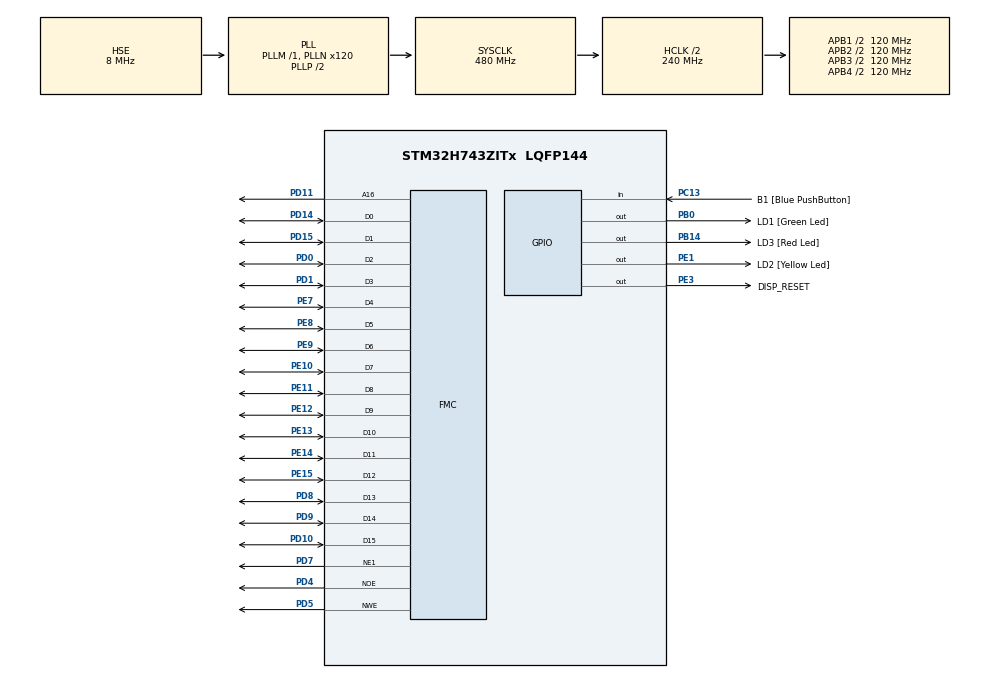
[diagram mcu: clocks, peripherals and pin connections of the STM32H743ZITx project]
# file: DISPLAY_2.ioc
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CORTEX_M7.AccessPermission-Cortex_Memory_Protection_Unit_Region0_Settings=MPU_REGION_FULL_ACCESS
CORTEX_M7.BaseAddress-Cortex_Memory_Protection_Unit_Region0_Settings=0x60000000
CORTEX_M7.DisableExec-Cortex_Memory_Protection_Unit_Region0_Settings=MPU_INSTRUCTION_ACCESS_DISABLE
CORTEX_M7.Enable-Cortex_Memory_Protection_Unit_Region0_Settings=MPU_REGION_ENABLE
CORTEX_M7.IsBufferable-Cortex_Memory_Protection_Unit_Region0_Settings=MPU_ACCESS_BUFFERABLE
CORTEX_M7.IsShareable-Cortex_Memory_Protection_Unit_Region0_Settings=MPU_ACCESS_SHAREABLE
CORTEX_M7.MPU_Control=MPU_HFNMI_PRIVDEF
CORTEX_M7.Size-Cortex_Memory_Protection_Unit_Region0_Settings=MPU_REGION_SIZE_64MB
CORTEX_M7.TypeExtField-Cortex_Memory_Protection_Unit_Region0_Settings=MPU_TEX_LEVEL0
FMC.BankMapConfig=FMC_SWAPBMAP_DISABLE
Mcu.Family=STM32H7
Mcu.Name=STM32H743ZITx
Mcu.Package=LQFP144
NVIC.PriorityGroup=NVIC_PRIORITYGROUP_4
PB0.GPIO_Label=LD1 [Green Led]
PB0.Signal=GPIO_Output
PB14.GPIO_Label=LD3 [Red Led]
PB14.Signal=GPIO_Output
PC13.GPIO_Label=B1 [Blue PushButton]
PC13.Signal=GPIO_Input
PC14-OSC32_IN\ (OSC32_IN).Mode=LSE-External-Oscillator
PC14-OSC32_IN\ (OSC32_IN).Signal=RCC_OSC32_IN
PC15-OSC32_OUT\ (OSC32_OUT).Mode=LSE-External-Oscillator
PC15-OSC32_OUT\ (OSC32_OUT).Signal=RCC_OSC32_OUT
PD0.Signal=FMC_D2_DA2
PD1.Signal=FMC_D3_DA3
PD10.Signal=FMC_D15_DA15
PD11.Signal=FMC_A16_CLE
PD14.Signal=FMC_D0_DA0
PD15.Signal=FMC_D1_DA1
PD4.Signal=FMC_NOE
PD5.Signal=FMC_NWE
PD7.Mode=NorPsramChipSelect1_1
PD7.Signal=FMC_NE1
PD8.Signal=FMC_D13_DA13
PD9.Signal=FMC_D14_DA14
PE1.GPIO_Label=LD2 [Yellow Led]
PE1.Signal=GPIO_Output
PE10.Signal=FMC_D7_DA7
PE11.Signal=FMC_D8_DA8
PE12.Signal=FMC_D9_DA9
PE13.Signal=FMC_D10_DA10
PE14.Signal=FMC_D11_DA11
PE15.Signal=FMC_D12_DA12
PE3.GPIO_Label=DISP_RESET
PE3.Signal=GPIO_Output
PE7.Signal=FMC_D4_DA4
PE8.Signal=FMC_D5_DA5
PE9.Signal=FMC_D6_DA6
PH0-OSC_IN\ (PH0).Mode=HSE-External-Clock-Source
PH0-OSC_IN\ (PH0).Signal=RCC_OSC_IN
PH1-OSC_OUT\ (PH1).Signal=RCC_OSC_OUT
ProjectManager.HeapSize=0x200
ProjectManager.StackSize=0x400
ProjectManager.TargetToolchain=Makefile
RCC.ADCFreq_Value=16125000
RCC.APB1Freq_Value=120000000
RCC.APB2Freq_Value=120000000
RCC.APB3Freq_Value=120000000
RCC.APB4Freq_Value=120000000
RCC.CortexFreq_Value=480000000
RCC.D1PPRE=RCC_APB3_DIV2
RCC.D2PPRE1=RCC_APB1_DIV2
RCC.D2PPRE2=RCC_APB2_DIV2
RCC.D3PPRE=RCC_APB4_DIV2
RCC.DIVM1=1
RCC.DIVN1=120
RCC.DIVQ1=30
RCC.HCLKFreq_Value=240000000
RCC.HPRE=RCC_HCLK_DIV2
RCC.HSE_VALUE=8000000
RCC.PLL2FRACN=0
RCC.PLL3FRACN=0
RCC.PLLFRACN=0
RCC.PLLSourceVirtual=RCC_PLLSOURCE_HSE
RCC.PWR_Regulator_Voltage_Scale=PWR_REGULATOR_VOLTAGE_SCALE0
RCC.ProductRev=revV
RCC.SYSCLKFreq_VALUE=480000000
RCC.SYSCLKSource=RCC_SYSCLKSOURCE_PLLCLK
RCC.USBFreq_Value=32000000
SH.FMC_A16_CLE.0=FMC_A16,A16_1
SH.FMC_D0_DA0.0=FMC_D0,16b-d1
SH.FMC_D10_DA10.0=FMC_D10,16b-d1
SH.FMC_D11_DA11.0=FMC_D11,16b-d1
SH.FMC_D12_DA12.0=FMC_D12,16b-d1
SH.FMC_D13_DA13.0=FMC_D13,16b-d1
SH.FMC_D14_DA14.0=FMC_D14,16b-d1
SH.FMC_D15_DA15.0=FMC_D15,16b-d1
SH.FMC_D1_DA1.0=FMC_D1,16b-d1
SH.FMC_D2_DA2.0=FMC_D2,16b-d1
SH.FMC_D3_DA3.0=FMC_D3,16b-d1
SH.FMC_D4_DA4.0=FMC_D4,16b-d1
SH.FMC_D5_DA5.0=FMC_D5,16b-d1
SH.FMC_D6_DA6.0=FMC_D6,16b-d1
SH.FMC_D7_DA7.0=FMC_D7,16b-d1
SH.FMC_D8_DA8.0=FMC_D8,16b-d1
SH.FMC_D9_DA9.0=FMC_D9,16b-d1
SH.FMC_NOE.0=FMC_NOE,Lcd1
SH.FMC_NWE.0=FMC_NWE,Lcd1
board=NUCLEO-H743ZI2

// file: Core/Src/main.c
/* USER CODE BEGIN Header */
/**
  ******************************************************************************
  * @file           : main.c
  * @brief          : Main program body
  ******************************************************************************
  * @attention
  *
  * Copyright (c) 2022 STMicroelectronics.
  * All rights reserved.
  *
  * This software is licensed under terms that can be found in the LICENSE file
  * in the root directory of this software component.
  * If no LICENSE file comes with this software, it is provided AS-IS.
  *
  ******************************************************************************
  */
/* USER CODE END Header */
#include "main.h"
#include "gpio.h"
#include "fmc.h"

/* USER CODE BEGIN Includes */
#include "ssd1963.h"
#include "tiger.h"

/* USER CODE END Includes */

void SystemClock_Config(void);
static void MPU_Config(void);

/* USER CODE BEGIN 0 */
void draw_tiger()
{
  uint16_t x,y;
  SSD1963_SetArea(0, TFT_WIDTH-1 , 0, TFT_HEIGHT-1);
  SSD1963_WriteCommand(0x2c);
  uint32_t counter=0;
  for(x=0;x<TFT_WIDTH;x++)
  {
    for(y= 0;y<TFT_HEIGHT;y++)
    {
      SSD1963_WriteData((tiger[counter]<<8)+tiger[counter+1]);
      counter=counter+2;
    }
  }
}
/* USER CODE END 0 */

int main(void)
{

  /* MPU Configuration--------------------------------------------------------*/
  MPU_Config();

  /* MCU Configuration--------------------------------------------------------*/

  /* Reset of all peripherals, Initializes the Flash interface and the Systick. */
  HAL_Init();

  /* Configure the system clock */
  SystemClock_Config();

  /* Initialize all configured peripherals */
  MX_GPIO_Init();
  MX_FMC_Init();
  /* USER CODE BEGIN 2 */
  HAL_Delay(50);
  SSD1963_Init();

  SSD1963_ClearScreen(BLACK);
  SSD1963_SetPixel(10,10,YELLOW);
  draw_tiger();

  /* USER CODE END 2 */

  /* Infinite loop */
  /* USER CODE BEGIN WHILE */
  while (1)
  {
     HAL_GPIO_TogglePin(LD1_GPIO_Port, LD1_Pin);
     HAL_Delay(250);
    /* USER CODE END WHILE */

  }
}

void SystemClock_Config(void)
{
  RCC_OscInitTypeDef RCC_OscInitStruct = {0};
  RCC_ClkInitTypeDef RCC_ClkInitStruct = {0};

  /** Supply configuration update enable
  */
  HAL_PWREx_ConfigSupply(PWR_LDO_SUPPLY);
  /** Configure the main internal regulator output voltage
  */
  __HAL_PWR_VOLTAGESCALING_CONFIG(PWR_REGULATOR_VOLTAGE_SCALE0);

  while(!__HAL_PWR_GET_FLAG(PWR_FLAG_VOSRDY)) {}
  /** Initializes the RCC Oscillators according to the specified parameters
  * in the RCC_OscInitTypeDef structure.
  */
  RCC_OscInitStruct.OscillatorType = RCC_OSCILLATORTYPE_HSE;
  RCC_OscInitStruct.HSEState = RCC_HSE_BYPASS;
  RCC_OscInitStruct.PLL.PLLState = RCC_PLL_ON;
  RCC_OscInitStruct.PLL.PLLSource = RCC_PLLSOURCE_HSE;
  RCC_OscInitStruct.PLL.PLLM = 1;
  RCC_OscInitStruct.PLL.PLLN = 120;
  RCC_OscInitStruct.PLL.PLLP = 2;
  RCC_OscInitStruct.PLL.PLLQ = 30;
  RCC_OscInitStruct.PLL.PLLR = 2;
  RCC_OscInitStruct.PLL.PLLRGE = RCC_PLL1VCIRANGE_3;
  RCC_OscInitStruct.PLL.PLLVCOSEL = RCC_PLL1VCOWIDE;
  RCC_OscInitStruct.PLL.PLLFRACN = 0;
  if (HAL_RCC_OscConfig(&RCC_OscInitStruct) != HAL_OK)
  {
    Error_Handler();
  }
  /** Initializes the CPU, AHB and APB buses clocks
  */
  RCC_ClkInitStruct.ClockType = RCC_CLOCKTYPE_HCLK|RCC_CLOCKTYPE_SYSCLK
                              |RCC_CLOCKTYPE_PCLK1|RCC_CLOCKTYPE_PCLK2
                              |RCC_CLOCKTYPE_D3PCLK1|RCC_CLOCKTYPE_D1PCLK1;
  RCC_ClkInitStruct.SYSCLKSource = RCC_SYSCLKSOURCE_PLLCLK;
  RCC_ClkInitStruct.SYSCLKDivider = RCC_SYSCLK_DIV1;
  RCC_ClkInitStruct.AHBCLKDivider = RCC_HCLK_DIV2;
  RCC_ClkInitStruct.APB3CLKDivider = RCC_APB3_DIV2;
  RCC_ClkInitStruct.APB1CLKDivider = RCC_APB1_DIV2;
  RCC_ClkInitStruct.APB2CLKDivider = RCC_APB2_DIV2;
  RCC_ClkInitStruct.APB4CLKDivider = RCC_APB4_DIV2;

  if (HAL_RCC_ClockConfig(&RCC_ClkInitStruct, FLASH_LATENCY_4) != HAL_OK)
  {
    Error_Handler();
  }
}

/* MPU Configuration */

void MPU_Config(void)
{
  MPU_Region_InitTypeDef MPU_InitStruct = {0};

  /* Disables the MPU */
  HAL_MPU_Disable();
  /** Initializes and configures the Region and the memory to be protected
  */
  MPU_InitStruct.Enable = MPU_REGION_ENABLE;
  MPU_InitStruct.Number = MPU_REGION_NUMBER0;
  MPU_InitStruct.BaseAddress = 0x60000000;
  MPU_InitStruct.Size = MPU_REGION_SIZE_64MB;
  MPU_InitStruct.SubRegionDisable = 0x0;
  MPU_InitStruct.TypeExtField = MPU_TEX_LEVEL0;
  MPU_InitStruct.AccessPermission = MPU_REGION_FULL_ACCESS;
  MPU_InitStruct.DisableExec = MPU_INSTRUCTION_ACCESS_DISABLE;
  MPU_InitStruct.IsShareable = MPU_ACCESS_SHAREABLE;
  MPU_InitStruct.IsCacheable = MPU_ACCESS_NOT_CACHEABLE;
  MPU_InitStruct.IsBufferable = MPU_ACCESS_BUFFERABLE;

  HAL_MPU_ConfigRegion(&MPU_InitStruct);
  /* Enables the MPU */
  HAL_MPU_Enable(MPU_HFNMI_PRIVDEF);

}

void Error_Handler(void)
{
  __disable_irq();
  while (1)
  {
  }
}
